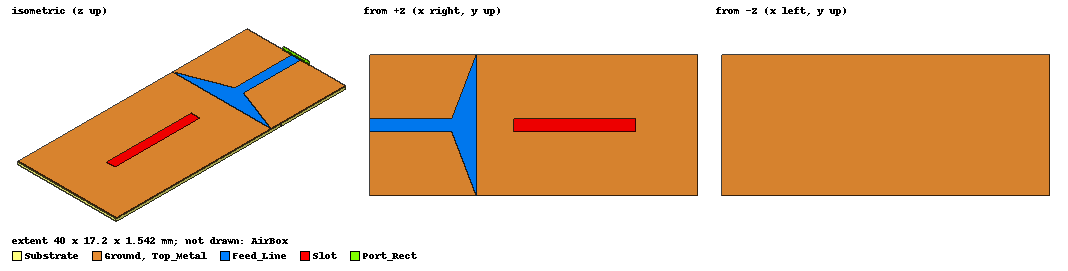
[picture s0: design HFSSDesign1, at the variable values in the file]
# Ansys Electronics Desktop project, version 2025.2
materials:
  vacuum: permittivity=1
  Rogers_5880: permittivity=2.2 dielectric_loss_tangent=0.0009
  pec: conductivity=1e+30

design HFSSDesign1 (HFSS, HFSS Terminal Network, model units mm)
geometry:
  Substrate [Rogers_5880] = box(corner=(0mm, 0mm, 0mm), size=(40mm, 17.2mm, 0.508mm))
  Ground = rectangle(corner=(0mm, 0mm, 0mm), x_size=40mm, y_size=17.2mm)
  Top_Metal = rectangle(corner=(0mm, 0mm, 0.508mm), x_size=40mm, y_size=17.2mm)
  Slot = rectangle(corner=(17.6mm, 7.85mm, 0.508mm), x_size=14.8mm, y_size=1.5mm)
  Slot_1 = Slot.copy()
  Top_Metal.subtract(Slot_1)
  Via_L_1 = cylinder(axis=Z, base_centre=(10.25mm, 0.25mm, 0mm), radius=0.25mm, height=0.508mm)
  Via_L_1_1..Via_L_1_29 = Via_L_1.duplicate_along_line(step=(1mm, 0mm, 0mm), total=30)
  Via_R_1 = cylinder(axis=Z, base_centre=(10.25mm, 16.95mm, 0mm), radius=0.25mm, height=0.508mm)
  Vias [pec], Via_R_1_1, Via_R_1_2, Via_R_1_4..Via_R_1_29 = Via_R_1.duplicate_along_line(step=(1mm, 0mm, 0mm), total=30)
  Vias.unite(Via_R_1_4..Via_R_1_29, Via_R_1_2, Via_R_1_1, Via_R_1, Via_L_1_29, Via_L_1_28, Via_L_1_27, Via_L_1_26, Via_L_1_25, Via_L_1_24, Via_L_1_23, Via_L_1_22, Via_L_1_21, Via_L_1_20, Via_L_1_19, Via_L_1_18, Via_L_1_17, Via_L_1_16, Via_L_1_15, Via_L_1_14, Via_L_1_12, Via_L_1_13, Via_L_1_11, Via_L_1_10, Via_L_1_9, Via_L_1_7, Via_L_1_8, Via_L_1_6, Via_L_1_5, Via_L_1_4, Via_L_1_3, Via_L_1_2, Via_L_1_1, Via_L_1)
  Feed_Line = rectangle(corner=(0mm, 7.82mm, 0.508mm), x_size=10mm, y_size=1.56mm)
  Taper = polyline(z=0.508mm, xy in mm: (10, 7.82) (10, 9.38) (13, 17.2) (13, 0) (10, 7.82), closed, covered)
  Feed_Line.unite(Taper)
  AirBox [vacuum] = box(corner=(0mm, -4.3mm, -0.508mm), size=(50mm, 25.8mm, 5.08mm))
  Port_Rect = rectangle(corner=(0mm, 6.26mm, -0.508mm), y_size=4.68mm, z_size=1.542mm)
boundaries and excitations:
  Ground_PEC: Perfect E Objects=Ground
  TopMetal_PEC: Perfect E Objects=Top_Metal
  Rad_Boundary: Radiation Faces=AirBox.face(all 6)
  Port1: Wave Port Objects=Port_Rect WavePortType=Modal NumModes=1 Modes{Mode1{IntLine{(0, 8.6, 0) -> (0, 8.6, 0.508)} CharImp=Zpi}}
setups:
  Setup1: HfssDriven Frequency=8GHz MaxDeltaS=0.02 MaximumPasses=20 MinimumPasses=1 MinimumConvergedPasses=1 PercentRefinement=30 BasisOrder=1 PortAccuracy=2 DrivenSolverType="Direct Solver"
    sweep Sweep1: 6GHz to 12GHz, 121 points; Type=Fast SaveFields
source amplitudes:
  Port1:1: 1V 0deg
